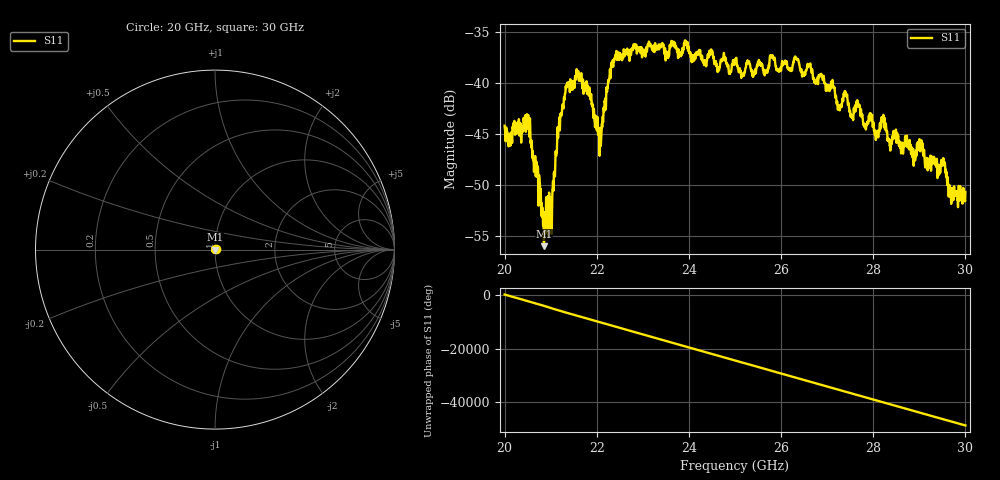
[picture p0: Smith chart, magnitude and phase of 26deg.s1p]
#  HZ  S  RI  R  50.00
! Rohde & Schwarz ZVA40 4Ports - Version 3.90 - 1145.1110k42 SN: 100403
! Date: 2023-10-03 12:47:54
! Measurement: S12
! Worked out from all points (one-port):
!   5001 points, 20 GHz to 30 GHz, reference 50 ohm
!   lowest |S11| = -56.0 dB at 20.85 GHz (marker M1), VSWR 1.00, Z = 49.9 + j0.055 ohm
!   |S11| at or under -10 dB: start of sweep to end of sweep
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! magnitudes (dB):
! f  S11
! 20 GHz  -44.2
! 20.11 GHz  -45.4
! 20.51 GHz  -43.2
! 20.85 GHz  -56.0
! 21 GHz  -51.8
! 21.15 GHz  -44.4
! 21.25 GHz  -42.4
! 21.36 GHz  -40.4
! 21.61 GHz  -39.6
! 21.85 GHz  -41.0
! 22.07 GHz  -44.5
! 22.3 GHz  -39.5
! 22.5 GHz  -37.4
! 23.75 GHz  -36.7
! 25 GHz  -37.9
! 25.16 GHz  -39.3
! 25.67 GHz  -38.9
! 25.8 GHz  -37.5
! 25.95 GHz  -38.8
! 26.25 GHz  -38.3
! 27.12 GHz  -39.7
! 27.27 GHz  -42.7
! 27.4 GHz  -40.9
! 27.5 GHz  -42.9
! 28.75 GHz  -45.8
! 29.52 GHz  -47.4
! 29.68 GHz  -50.3
! 30 GHz  -50.7
